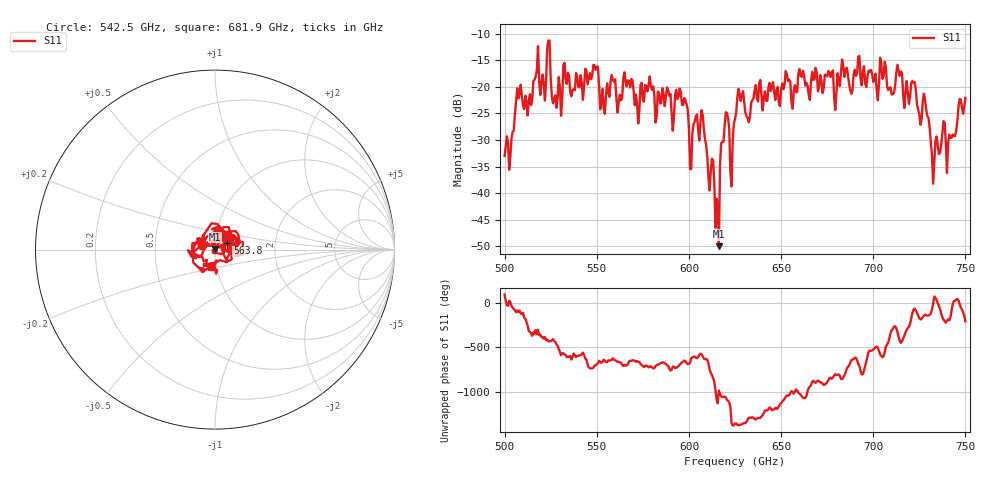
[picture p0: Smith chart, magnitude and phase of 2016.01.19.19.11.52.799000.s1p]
!Created with skrf (http://scikit-rf.org).
# GHz S RI R 50.0
!freq ReS11 ImS11
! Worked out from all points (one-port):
!   401 points, 500 GHz to 750 GHz, reference 50 ohm
!   lowest |S11| = -50.0 dB at 616.2 GHz (marker M1), VSWR 1.01, Z = 50 + j0.316 ohm
!   |S11| at or under -10 dB: start of sweep to end of sweep
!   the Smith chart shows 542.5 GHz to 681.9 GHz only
!   S11 on the Smith chart (normalised r, x): 542.5 GHz: 0.87, +0.04; 563.8 GHz: 1.15, +0.08; 681.9 GHz: 0.94, -0.19
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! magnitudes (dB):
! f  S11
! 500 GHz  -33.0
! 516.9 GHz  -18.1
! 531.2 GHz  -22.4
! 542.5 GHz  -22.4
! 549.4 GHz  -16.8
! 553.1 GHz  -20.4
! 558.8 GHz  -18.7
! 562.5 GHz  -21.5
! 563.8 GHz  -22.2
! 593.8 GHz  -22.3
! 601.2 GHz  -35.5
! 607.5 GHz  -25.3
! 615 GHz  -41.1
! 616.2 GHz  -50.0
! 619.4 GHz  -27.4
! 623.1 GHz  -38.7
! 625 GHz  -26.1
! 628.1 GHz  -22.7
! 631.9 GHz  -25.9
! 637.5 GHz  -22.8
! 656.2 GHz  -24.1
! 681.9 GHz  -19.9
! 687.5 GHz  -20.6
! 705 GHz  -18.5
! 718.8 GHz  -21.0
! 728.1 GHz  -22.5
! 732.5 GHz  -38.2
! 750 GHz  -22.1
